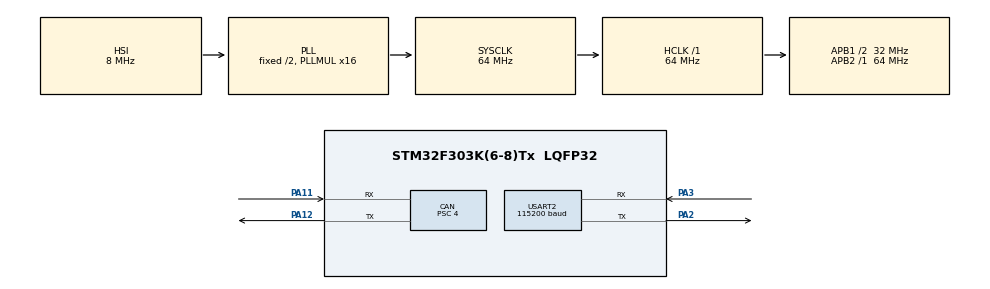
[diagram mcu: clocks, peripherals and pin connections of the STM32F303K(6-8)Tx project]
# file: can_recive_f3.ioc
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CAN.BS1=CAN_BS1_6TQ
CAN.BS2=CAN_BS2_1TQ
CAN.CalculateBaudRate=1000000
CAN.CalculateTimeBit=1000
CAN.CalculateTimeQuantum=125.0
CAN.Prescaler=4
CAN.TXFP=ENABLE
Dma.Request0=USART2_TX
Dma.USART2_TX.0.Direction=DMA_MEMORY_TO_PERIPH
Dma.USART2_TX.0.Instance=DMA1_Channel7
Dma.USART2_TX.0.MemDataAlignment=DMA_MDATAALIGN_BYTE
Dma.USART2_TX.0.MemInc=DMA_MINC_ENABLE
Dma.USART2_TX.0.Mode=DMA_NORMAL
Dma.USART2_TX.0.PeriphDataAlignment=DMA_PDATAALIGN_BYTE
Dma.USART2_TX.0.PeriphInc=DMA_PINC_DISABLE
Dma.USART2_TX.0.Priority=DMA_PRIORITY_LOW
Mcu.Family=STM32F3
Mcu.Name=STM32F303K(6-8)Tx
Mcu.Package=LQFP32
NVIC.CAN_RX0_IRQn=true\:0\:0\:false\:false\:true\:true\:true\:true
NVIC.CAN_RX1_IRQn=true\:0\:0\:false\:false\:true\:true\:true\:true
NVIC.CAN_TX_IRQn=true\:0\:0\:false\:false\:true\:true\:true\:true
NVIC.DMA1_Channel7_IRQn=true\:0\:0\:false\:false\:true\:false\:true\:true
NVIC.PriorityGroup=NVIC_PRIORITYGROUP_4
NVIC.USART2_IRQn=true\:0\:0\:false\:false\:true\:true\:true\:true
PA11.Mode=CAN_Activate
PA11.Signal=CAN_RX
PA12.Mode=CAN_Activate
PA12.Signal=CAN_TX
PA2.Mode=Asynchronous
PA2.Signal=USART2_TX
PA3.Mode=Asynchronous
PA3.Signal=USART2_RX
ProjectManager.HeapSize=0x200
ProjectManager.StackSize=0x400
ProjectManager.TargetToolchain=STM32CubeIDE
RCC.AHBFreq_Value=64000000
RCC.APB1CLKDivider=RCC_HCLK_DIV2
RCC.APB1Freq_Value=32000000
RCC.APB1TimFreq_Value=64000000
RCC.APB2Freq_Value=64000000
RCC.APB2TimFreq_Value=64000000
RCC.CortexFreq_Value=64000000
RCC.HCLKFreq_Value=64000000
RCC.HSE_VALUE=8000000
RCC.HSI_VALUE=8000000
RCC.PLLMUL=RCC_PLL_MUL16
RCC.SYSCLKFreq_VALUE=64000000
RCC.SYSCLKSourceVirtual=RCC_SYSCLKSOURCE_PLLCLK
USART2.BaudRate=115200
USART2.VirtualMode-Asynchronous=VM_ASYNC
board=custom

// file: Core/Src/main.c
/* USER CODE BEGIN Header */
/**
  ******************************************************************************
  * @file           : main.c
  * @brief          : Main program body
  ******************************************************************************
  * @attention
  *
  * Copyright (c) 2024 STMicroelectronics.
  * All rights reserved.
  *
  * This software is licensed under terms that can be found in the LICENSE file
  * in the root directory of this software component.
  * If no LICENSE file comes with this software, it is provided AS-IS.
  *
  ******************************************************************************
  */
/* USER CODE END Header */
#include "main.h"

/* USER CODE BEGIN Includes */
#include "stdio.h"
/* USER CODE END Includes */

CAN_HandleTypeDef hcan;

UART_HandleTypeDef huart2;
DMA_HandleTypeDef hdma_usart2_tx;

void SystemClock_Config(void);
static void MX_GPIO_Init(void);
static void MX_DMA_Init(void);
static void MX_USART2_UART_Init(void);
static void MX_CAN_Init(void);

/* USER CODE BEGIN 0 */
#ifdef __GNUC__
#define PUTCHAR_PROTOTYPE int __io_putchar(uint8_t ch)
#else
#define PUTCHAR_PROTOTYPE int fputc(int ch, FILE *f)
#endif /* __GNUC__ */

PUTCHAR_PROTOTYPE {
    HAL_UART_Transmit(&huart2, &ch, 1, 500);
    return ch;
}

uint32_t id;
uint32_t dlc;
uint8_t data[8];

void HAL_CAN_RxFifo0MsgPendingCallback(CAN_HandleTypeDef *hcan)
{
    CAN_RxHeaderTypeDef RxHeader;
    uint8_t RxData[8];
    if (HAL_CAN_GetRxMessage(hcan, CAN_RX_FIFO0, &RxHeader, RxData) == HAL_OK)
    {
        id = (RxHeader.IDE == CAN_ID_STD)? RxHeader.StdId : RxHeader.ExtId;     // ID
        dlc = RxHeader.DLC;                                                     // DLC
        data[0] = RxData[0];                                                    // Data
        data[1] = RxData[1];
        data[2] = RxData[2];
        data[3] = RxData[3];
        data[4] = RxData[4];
        data[5] = RxData[5];
        data[6] = RxData[6];
        data[7] = RxData[7];
    }

    printf("can message recived\r\n");
}

/* USER CODE END 0 */

int main(void)
{

  /* MCU Configuration--------------------------------------------------------*/

  /* Reset of all peripherals, Initializes the Flash interface and the Systick. */
  HAL_Init();

  /* Configure the system clock */
  SystemClock_Config();

  /* Initialize all configured peripherals */
  MX_GPIO_Init();
  MX_DMA_Init();
  MX_USART2_UART_Init();
  MX_CAN_Init();
  /* USER CODE BEGIN 2 */
  printf("hello from reciver\r\n");

  CAN_FilterTypeDef filter;
    filter.FilterIdHigh         = 0;                        // フィルターID(上位16ビット)
    filter.FilterIdLow          = 0;                        // フィルターID(下位16ビット)
    filter.FilterMaskIdHigh     = 0;                        // フィルターマスク(上位16ビット)
    filter.FilterMaskIdLow      = 0;                        // フィルターマスク(下位16ビット)
    filter.FilterScale          = CAN_FILTERSCALE_32BIT;    // フィルタースケール
    filter.FilterFIFOAssignment = CAN_FILTER_FIFO0;         // フィルターに割り当てるFIFO
    filter.FilterBank           = 0;                        // フィルターバンクNo
    filter.FilterMode           = CAN_FILTERMODE_IDMASK;    // フィルターモード
    filter.SlaveStartFilterBank = 14;                       // スレーブCANの開始フィルターバンクNo
    filter.FilterActivation     = ENABLE;                   // フィルター無効／有効

    if (HAL_CAN_ConfigFilter(&hcan, &filter) != HAL_OK)
    	  {
    		  /* Filter configuration Error */
    	  printf("Filter Config Error\r\n");
    		  Error_Handler();
    	  }

      if (HAL_CAN_Start(&hcan) != HAL_OK)
          {
              /* Start Error */
              printf("Start Error\r\n");
              Error_Handler();
          }

  // 割り込み有効
  HAL_CAN_ActivateNotification(&hcan, CAN_IT_RX_FIFO0_MSG_PENDING);
  /* USER CODE END 2 */

  /* Infinite loop */
  while (1)
  {

  }
}

void SystemClock_Config(void)
{
  RCC_OscInitTypeDef RCC_OscInitStruct = {0};
  RCC_ClkInitTypeDef RCC_ClkInitStruct = {0};

  /** Initializes the RCC Oscillators according to the specified parameters
  * in the RCC_OscInitTypeDef structure.
  */
  RCC_OscInitStruct.OscillatorType = RCC_OSCILLATORTYPE_HSI;
  RCC_OscInitStruct.HSIState = RCC_HSI_ON;
  RCC_OscInitStruct.HSICalibrationValue = RCC_HSICALIBRATION_DEFAULT;
  RCC_OscInitStruct.PLL.PLLState = RCC_PLL_ON;
  RCC_OscInitStruct.PLL.PLLSource = RCC_PLLSOURCE_HSI;
  RCC_OscInitStruct.PLL.PLLMUL = RCC_PLL_MUL16;
  if (HAL_RCC_OscConfig(&RCC_OscInitStruct) != HAL_OK)
  {
    Error_Handler();
  }

  /** Initializes the CPU, AHB and APB buses clocks
  */
  RCC_ClkInitStruct.ClockType = RCC_CLOCKTYPE_HCLK|RCC_CLOCKTYPE_SYSCLK
                              |RCC_CLOCKTYPE_PCLK1|RCC_CLOCKTYPE_PCLK2;
  RCC_ClkInitStruct.SYSCLKSource = RCC_SYSCLKSOURCE_PLLCLK;
  RCC_ClkInitStruct.AHBCLKDivider = RCC_SYSCLK_DIV1;
  RCC_ClkInitStruct.APB1CLKDivider = RCC_HCLK_DIV2;
  RCC_ClkInitStruct.APB2CLKDivider = RCC_HCLK_DIV1;

  if (HAL_RCC_ClockConfig(&RCC_ClkInitStruct, FLASH_LATENCY_2) != HAL_OK)
  {
    Error_Handler();
  }
}

static void MX_CAN_Init(void)
{

  hcan.Instance = CAN;
  hcan.Init.Prescaler = 4;
  hcan.Init.Mode = CAN_MODE_NORMAL;
  hcan.Init.SyncJumpWidth = CAN_SJW_1TQ;
  hcan.Init.TimeSeg1 = CAN_BS1_6TQ;
  hcan.Init.TimeSeg2 = CAN_BS2_1TQ;
  hcan.Init.TimeTriggeredMode = DISABLE;
  hcan.Init.AutoBusOff = DISABLE;
  hcan.Init.AutoWakeUp = DISABLE;
  hcan.Init.AutoRetransmission = DISABLE;
  hcan.Init.ReceiveFifoLocked = DISABLE;
  hcan.Init.TransmitFifoPriority = ENABLE;
  if (HAL_CAN_Init(&hcan) != HAL_OK)
  {
    Error_Handler();
  }

}

static void MX_USART2_UART_Init(void)
{

  huart2.Instance = USART2;
  huart2.Init.BaudRate = 115200;
  huart2.Init.WordLength = UART_WORDLENGTH_8B;
  huart2.Init.StopBits = UART_STOPBITS_1;
  huart2.Init.Parity = UART_PARITY_NONE;
  huart2.Init.Mode = UART_MODE_TX_RX;
  huart2.Init.HwFlowCtl = UART_HWCONTROL_NONE;
  huart2.Init.OverSampling = UART_OVERSAMPLING_16;
  huart2.Init.OneBitSampling = UART_ONE_BIT_SAMPLE_DISABLE;
  huart2.AdvancedInit.AdvFeatureInit = UART_ADVFEATURE_NO_INIT;
  if (HAL_UART_Init(&huart2) != HAL_OK)
  {
    Error_Handler();
  }

}

static void MX_DMA_Init(void)
{

  /* DMA controller clock enable */
  __HAL_RCC_DMA1_CLK_ENABLE();

  /* DMA interrupt init */
  /* DMA1_Channel7_IRQn interrupt configuration */
  HAL_NVIC_SetPriority(DMA1_Channel7_IRQn, 0, 0);
  HAL_NVIC_EnableIRQ(DMA1_Channel7_IRQn);

}

static void MX_GPIO_Init(void)
{

  /* GPIO Ports Clock Enable */
  __HAL_RCC_GPIOA_CLK_ENABLE();

}

void Error_Handler(void)
{
  __disable_irq();
  while (1)
  {
  }
}
